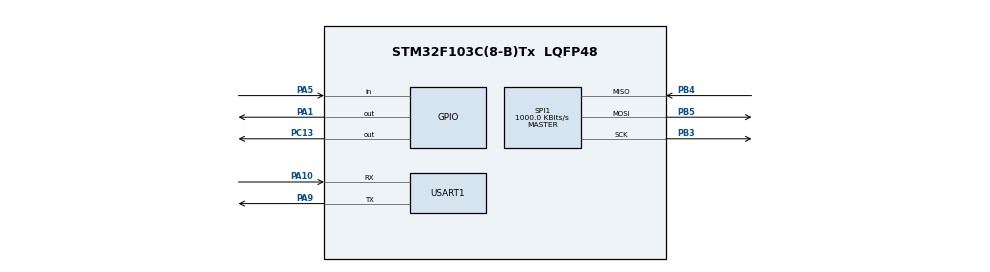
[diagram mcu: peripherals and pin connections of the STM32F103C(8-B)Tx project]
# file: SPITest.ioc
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Mcu.Family=STM32F1
Mcu.Name=STM32F103C(8-B)Tx
Mcu.Package=LQFP48
NVIC.PriorityGroup=NVIC_PRIORITYGROUP_4
PA1.GPIO_PuPd=GPIO_PULLUP
PA1.GPIO_Speed=GPIO_SPEED_FREQ_HIGH
PA1.PinState=GPIO_PIN_SET
PA1.Signal=GPIO_Output
PA10.Mode=Asynchronous
PA10.Signal=USART1_RX
PA13.Mode=Serial_Wire
PA13.Signal=SYS_JTMS-SWDIO
PA14.Mode=Serial_Wire
PA14.Signal=SYS_JTCK-SWCLK
PA5.GPIO_PuPd=GPIO_PULLUP
PA5.Signal=GPIO_Input
PA9.Mode=Asynchronous
PA9.Signal=USART1_TX
PB3.Mode=Full_Duplex_Master
PB3.Signal=SPI1_SCK
PB4.Mode=Full_Duplex_Master
PB4.Signal=SPI1_MISO
PB5.Mode=Full_Duplex_Master
PB5.Signal=SPI1_MOSI
PC13-TAMPER-RTC.GPIO_ModeDefaultOutputPP=GPIO_MODE_OUTPUT_OD
PC13-TAMPER-RTC.GPIO_PuPd=GPIO_PULLUP
PC13-TAMPER-RTC.PinState=GPIO_PIN_SET
PC13-TAMPER-RTC.Signal=GPIO_Output
ProjectManager.HeapSize=0x200
ProjectManager.StackSize=0x400
ProjectManager.TargetToolchain=MDK-ARM V5.32
RCC.APB1Freq_Value=8000000
RCC.APB2Freq_Value=8000000
SPI1.BaudRatePrescaler=SPI_BAUDRATEPRESCALER_8
SPI1.CLKPhase=SPI_PHASE_2EDGE
SPI1.CLKPolarity=SPI_POLARITY_HIGH
SPI1.CalculateBaudRate=1000.0 KBits/s
SPI1.Direction=SPI_DIRECTION_2LINES
SPI1.Mode=SPI_MODE_MASTER
SPI1.VirtualType=VM_MASTER
USART1.VirtualMode=VM_ASYNC
board=custom

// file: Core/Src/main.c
/* USER CODE BEGIN Header */
/**
 ******************************************************************************
 * @file           : main.c
 * @brief          : Main program body
 ******************************************************************************
 * @attention
 *
 * Copyright (c) 2024 STMicroelectronics.
 * All rights reserved.
 *
 * This software is licensed under terms that can be found in the LICENSE file
 * in the root directory of this software component.
 * If no LICENSE file comes with this software, it is provided AS-IS.
 *
 ******************************************************************************
 */
/* USER CODE END Header */
#include "main.h"

SPI_HandleTypeDef hspi1;

UART_HandleTypeDef huart1;

void SystemClock_Config(void);
static void MX_GPIO_Init(void);
static void MX_SPI1_Init(void);
static void MX_USART1_UART_Init(void);
/* USER CODE BEGIN PFP */
static void SaveLEDState(uint8_t ledState);
static uint8_t LoadLEDState();
/* USER CODE END PFP */

/* USER CODE BEGIN 0 */
static void SaveLEDState(uint8_t ledState)
{
    // #1.Enable the nand flash
    uint8_t writeEnableCmd[] = {0x06};

    HAL_GPIO_WritePin(GPIOA, GPIO_PIN_1, GPIO_PIN_RESET);

    HAL_SPI_Transmit(&hspi1, writeEnableCmd, 1, HAL_MAX_DELAY);

    HAL_GPIO_WritePin(GPIOA, GPIO_PIN_1, GPIO_PIN_SET);
    // #2.Sector Erase
    uint8_t sectorEraseCmd[] = {0x20, 0x00, 0x00, 0x00};

    HAL_GPIO_WritePin(GPIOA, GPIO_PIN_1, GPIO_PIN_RESET);

    HAL_SPI_Transmit(&hspi1, sectorEraseCmd, 4, HAL_MAX_DELAY);

    HAL_GPIO_WritePin(GPIOA, GPIO_PIN_1, GPIO_PIN_SET);

    HAL_Delay(100);
    // #3.Enable the nand flash
    HAL_GPIO_WritePin(GPIOA, GPIO_PIN_1, GPIO_PIN_RESET);

    HAL_SPI_Transmit(&hspi1, writeEnableCmd, 1, HAL_MAX_DELAY);

    HAL_GPIO_WritePin(GPIOA, GPIO_PIN_1, GPIO_PIN_SET);
    // #4.page program
    uint8_t pageProgCmd[5] = {0x02, 0x00, 0x00, 0x00};
    pageProgCmd[4] = ledState;

    HAL_GPIO_WritePin(GPIOA, GPIO_PIN_1, GPIO_PIN_RESET);

    HAL_SPI_Transmit(&hspi1, pageProgCmd, 5, HAL_MAX_DELAY);

    HAL_GPIO_WritePin(GPIOA, GPIO_PIN_1, GPIO_PIN_SET);
    HAL_Delay(10);
}

static uint8_t LoadLEDState()
{
    uint8_t readDataCmd[] = {0x03, 0x00, 0x00, 0x00};
    uint8_t ledState = 0xff;

    HAL_GPIO_WritePin(GPIOA, GPIO_PIN_1, GPIO_PIN_RESET);

    HAL_SPI_Transmit(&hspi1, readDataCmd, 4, HAL_MAX_DELAY);

    HAL_SPI_Receive(&hspi1, &ledState, 1, HAL_MAX_DELAY);
    HAL_UART_Transmit(&huart1, &ledState, 1, HAL_MAX_DELAY);

    HAL_GPIO_WritePin(GPIOA, GPIO_PIN_1, GPIO_PIN_SET);

    return ledState;
}
/* USER CODE END 0 */

int main(void)
{

    /* MCU Configuration--------------------------------------------------------*/

    /* Reset of all peripherals, Initializes the Flash interface and the Systick. */
    HAL_Init();

    /* Configure the system clock */
    SystemClock_Config();

    /* Initialize all configured peripherals */
    MX_GPIO_Init();
    MX_SPI1_Init();
    MX_USART1_UART_Init();

    /* Infinite loop */
    /* USER CODE BEGIN WHILE */
    uint8_t pre = 1, cur = 1;
    uint8_t ledState = 1;

    SaveLEDState(1);

    ledState = LoadLEDState();

    if (ledState == 1)
    {
        HAL_GPIO_WritePin(GPIOC, GPIO_PIN_13, GPIO_PIN_SET);
    }
    else if (ledState == 0)
    {
        HAL_GPIO_WritePin(GPIOC, GPIO_PIN_13, GPIO_PIN_RESET);
    }

    while (1)
    {
        pre = cur;

        if (HAL_GPIO_ReadPin(GPIOA, GPIO_PIN_5) == GPIO_PIN_SET)
        {
            cur = 1;
        }
        else
        {
            cur = 0;
        }

        if (pre != cur)
        {
            HAL_Delay(10);
            if (cur == 0)
            {
            }
            else
            {
                if (ledState == 1)
                {
                    HAL_GPIO_WritePin(GPIOC, GPIO_PIN_13, GPIO_PIN_SET);
                    ledState = 0;
                }
                else
                {
                    HAL_GPIO_WritePin(GPIOC, GPIO_PIN_13, GPIO_PIN_RESET);
                    ledState = 1;
                }
                HAL_UART_Transmit(&huart1, &ledState, 1, HAL_MAX_DELAY);
                SaveLEDState(ledState);
            }
        }
        /* USER CODE END WHILE */

    }
}

void SystemClock_Config(void)
{
    RCC_OscInitTypeDef RCC_OscInitStruct = {0};
    RCC_ClkInitTypeDef RCC_ClkInitStruct = {0};

    /** Initializes the RCC Oscillators according to the specified parameters
    * in the RCC_OscInitTypeDef structure.
    */
    RCC_OscInitStruct.OscillatorType = RCC_OSCILLATORTYPE_HSI;
    RCC_OscInitStruct.HSIState = RCC_HSI_ON;
    RCC_OscInitStruct.HSICalibrationValue = RCC_HSICALIBRATION_DEFAULT;
    RCC_OscInitStruct.PLL.PLLState = RCC_PLL_NONE;
    if (HAL_RCC_OscConfig(&RCC_OscInitStruct) != HAL_OK)
    {
        Error_Handler();
    }

    /** Initializes the CPU, AHB and APB buses clocks
    */
    RCC_ClkInitStruct.ClockType = RCC_CLOCKTYPE_HCLK|RCC_CLOCKTYPE_SYSCLK
                                  |RCC_CLOCKTYPE_PCLK1|RCC_CLOCKTYPE_PCLK2;
    RCC_ClkInitStruct.SYSCLKSource = RCC_SYSCLKSOURCE_HSI;
    RCC_ClkInitStruct.AHBCLKDivider = RCC_SYSCLK_DIV1;
    RCC_ClkInitStruct.APB1CLKDivider = RCC_HCLK_DIV1;
    RCC_ClkInitStruct.APB2CLKDivider = RCC_HCLK_DIV1;

    if (HAL_RCC_ClockConfig(&RCC_ClkInitStruct, FLASH_LATENCY_0) != HAL_OK)
    {
        Error_Handler();
    }
}

static void MX_SPI1_Init(void)
{

    /* SPI1 parameter configuration*/
    hspi1.Instance = SPI1;
    hspi1.Init.Mode = SPI_MODE_MASTER;
    hspi1.Init.Direction = SPI_DIRECTION_2LINES;
    hspi1.Init.DataSize = SPI_DATASIZE_8BIT;
    hspi1.Init.CLKPolarity = SPI_POLARITY_HIGH;
    hspi1.Init.CLKPhase = SPI_PHASE_2EDGE;
    hspi1.Init.NSS = SPI_NSS_SOFT;
    hspi1.Init.BaudRatePrescaler = SPI_BAUDRATEPRESCALER_8;
    hspi1.Init.FirstBit = SPI_FIRSTBIT_MSB;
    hspi1.Init.TIMode = SPI_TIMODE_DISABLE;
    hspi1.Init.CRCCalculation = SPI_CRCCALCULATION_DISABLE;
    hspi1.Init.CRCPolynomial = 10;
    if (HAL_SPI_Init(&hspi1) != HAL_OK)
    {
        Error_Handler();
    }

}

static void MX_USART1_UART_Init(void)
{

    huart1.Instance = USART1;
    huart1.Init.BaudRate = 115200;
    huart1.Init.WordLength = UART_WORDLENGTH_8B;
    huart1.Init.StopBits = UART_STOPBITS_1;
    huart1.Init.Parity = UART_PARITY_NONE;
    huart1.Init.Mode = UART_MODE_TX_RX;
    huart1.Init.HwFlowCtl = UART_HWCONTROL_NONE;
    huart1.Init.OverSampling = UART_OVERSAMPLING_16;
    if (HAL_UART_Init(&huart1) != HAL_OK)
    {
        Error_Handler();
    }

}

static void MX_GPIO_Init(void)
{
    GPIO_InitTypeDef GPIO_InitStruct = {0};

    /* GPIO Ports Clock Enable */
    __HAL_RCC_GPIOC_CLK_ENABLE();
    __HAL_RCC_GPIOA_CLK_ENABLE();
    __HAL_RCC_GPIOB_CLK_ENABLE();

    /*Configure GPIO pin Output Level */
    HAL_GPIO_WritePin(GPIOC, GPIO_PIN_13, GPIO_PIN_SET);

    /*Configure GPIO pin Output Level */
    HAL_GPIO_WritePin(GPIOA, GPIO_PIN_1, GPIO_PIN_SET);

    /*Configure GPIO pin : PC13 */
    GPIO_InitStruct.Pin = GPIO_PIN_13;
    GPIO_InitStruct.Mode = GPIO_MODE_OUTPUT_OD;
    GPIO_InitStruct.Pull = GPIO_PULLUP;
    GPIO_InitStruct.Speed = GPIO_SPEED_FREQ_LOW;
    HAL_GPIO_Init(GPIOC, &GPIO_InitStruct);

    /*Configure GPIO pin : PA1 */
    GPIO_InitStruct.Pin = GPIO_PIN_1;
    GPIO_InitStruct.Mode = GPIO_MODE_OUTPUT_PP;
    GPIO_InitStruct.Pull = GPIO_PULLUP;
    GPIO_InitStruct.Speed = GPIO_SPEED_FREQ_HIGH;
    HAL_GPIO_Init(GPIOA, &GPIO_InitStruct);

    /*Configure GPIO pin : PA5 */
    GPIO_InitStruct.Pin = GPIO_PIN_5;
    GPIO_InitStruct.Mode = GPIO_MODE_INPUT;
    GPIO_InitStruct.Pull = GPIO_PULLUP;
    HAL_GPIO_Init(GPIOA, &GPIO_InitStruct);

}

void Error_Handler(void)
{
    __disable_irq();
    while (1)
    {
    }
}
